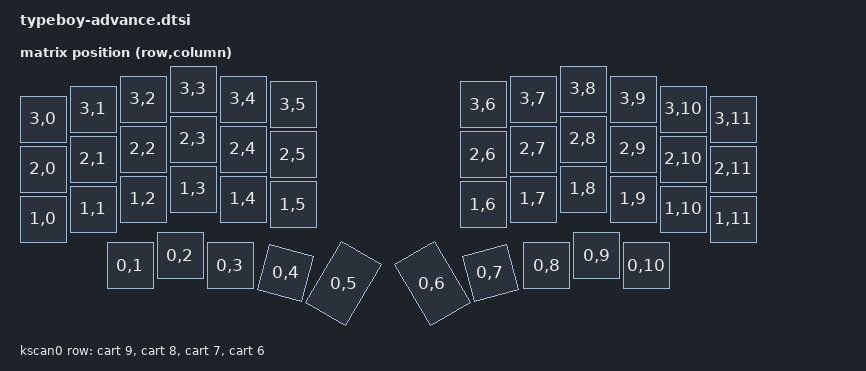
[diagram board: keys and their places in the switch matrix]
#include <physical_layouts.dtsi>
#include <dt-bindings/zmk/matrix_transform.h>
#include <dt-bindings/led/led.h>

// Define a pinctrl for the RGB LEDs.
&pinctrl {
    spi3_default: spi3_default {
        group1 {
            psels = <NRF_PSEL(SPIM_MOSI, 1, 0)>;
        };
    };

    spi3_sleep: spi3_sleep {
        group1 {
            psels = <NRF_PSEL(SPIM_MOSI, 1, 0)>;
            low-power-enable;
        };
    };
};

// RGB LEDs. Connected to Pin D26/P1.00
&spi3 {
    compatible = "nordic,nrf-spim";
    status = "okay";

    pinctrl-0 = <&spi3_default>;
    pinctrl-1 = <&spi3_sleep>;
    pinctrl-names = "default", "sleep";

    led_strip: ws2812@0 {
        compatible = "worldsemi,ws2812-spi";

        /* SPI */
        reg = <0>; /* ignored, but necessary for SPI bindings */
        spi-max-frequency = <4000000>;

        /* WS2812 */
        chain-length = <48>; /* number of LEDs */
        spi-one-frame = <0x70>;
        spi-zero-frame = <0x40>;
        color-mapping = <LED_COLOR_ID_GREEN
                         LED_COLOR_ID_RED
                         LED_COLOR_ID_BLUE>;
    };
};

// Display settings.
&cart_spi {
    status = "okay";

    cs-gpios = <&cart 23 GPIO_ACTIVE_HIGH>;
	ls0xx: ls0xx@0 {
		compatible = "sharp,ls0xx";
		label = "DISPLAY";
		spi-max-frequency = <2000000>;
		reg = <0>;
		width = <160>;
		height = <68>;
	};
};

&cart_serial { status = "disabled"; };

&typeboy_advance_layout {
    transform = <&default_transform>;
};

/ {
    typeboy_advance_layout: typeboy_advance_layout {
        compatible = "zmk,physical-layout";
        display-name = "TypeBoy Advance";

        keys  //                     w   h    x    y     rot    rx    ry
            = <&key_physical_attrs 100 100    0   60       0     0     0>
            , <&key_physical_attrs 100 100  100   40       0     0     0>
            , <&key_physical_attrs 100 100  200   20       0     0     0>
            , <&key_physical_attrs 100 100  300    0       0     0     0>
            , <&key_physical_attrs 100 100  400   20       0     0     0>
            , <&key_physical_attrs 100 100  500   31       0     0     0>
            , <&key_physical_attrs 100 100  880   31       0     0     0>
            , <&key_physical_attrs 100 100  980   20       0     0     0>
            , <&key_physical_attrs 100 100 1080    0       0     0     0>
            , <&key_physical_attrs 100 100 1180   20       0     0     0>
            , <&key_physical_attrs 100 100 1280   40       0     0     0>
            , <&key_physical_attrs 100 100 1380   60       0     0     0>
            , <&key_physical_attrs 100 100    0  160       0     0     0>
            , <&key_physical_attrs 100 100  100  140       0     0     0>
            , <&key_physical_attrs 100 100  200  120       0     0     0>
            , <&key_physical_attrs 100 100  300  100       0     0     0>
            , <&key_physical_attrs 100 100  400  120       0     0     0>
            , <&key_physical_attrs 100 100  500  131       0     0     0>
            , <&key_physical_attrs 100 100  880  131       0     0     0>
            , <&key_physical_attrs 100 100  980  120       0     0     0>
            , <&key_physical_attrs 100 100 1080  100       0     0     0>
            , <&key_physical_attrs 100 100 1180  120       0     0     0>
            , <&key_physical_attrs 100 100 1280  140       0     0     0>
            , <&key_physical_attrs 100 100 1380  160       0     0     0>
            , <&key_physical_attrs 100 100    0  260       0     0     0>
            , <&key_physical_attrs 100 100  100  240       0     0     0>
            , <&key_physical_attrs 100 100  200  220       0     0     0>
            , <&key_physical_attrs 100 100  300  200       0     0     0>
            , <&key_physical_attrs 100 100  400  220       0     0     0>
            , <&key_physical_attrs 100 100  500  231       0     0     0>
            , <&key_physical_attrs 100 100  880  231       0     0     0>
            , <&key_physical_attrs 100 100  980  220       0     0     0>
            , <&key_physical_attrs 100 100 1080  200       0     0     0>
            , <&key_physical_attrs 100 100 1180  220       0     0     0>
            , <&key_physical_attrs 100 100 1280  240       0     0     0>
            , <&key_physical_attrs 100 100 1380  260       0     0     0>
            , <&key_physical_attrs 100 100  174  353       0     0     0>
            , <&key_physical_attrs 100 100  274  333       0     0     0>
            , <&key_physical_attrs 100 100  374  353       0     0     0>
            , <&key_physical_attrs 100 100  485  368    1500   535   418>
            , <&key_physical_attrs 150 100  576  389 (-6000)   651   439>
            , <&key_physical_attrs 150 100  754  389    6000   829   439>
            , <&key_physical_attrs 100 100  895  368 (-1500)   945   418>
            , <&key_physical_attrs 100 100 1007  353       0     0     0>
            , <&key_physical_attrs 100 100 1107  333       0     0     0>
            , <&key_physical_attrs 100 100 1207  353       0     0     0>
            ;
    };
    
    chosen {
        zmk,kscan = &kscan0;
        zmk,physical-layout = &typeboy_advance_layout;
		zephyr,display = &ls0xx;
        zmk,underglow = &led_strip;
    };

    default_transform: keymap_transform_0 {
        compatible = "zmk,matrix-transform";
        columns = <12>;
        rows = <4>;

        map = <
            RC(3,0) RC(3,1) RC(3,2) RC(3,3) RC(3,4) RC(3,5) RC(3,6) RC(3,7) RC(3,8) RC(3,9) RC(3,10) RC(3,11)
            RC(2,0) RC(2,1) RC(2,2) RC(2,3) RC(2,4) RC(2,5) RC(2,6) RC(2,7) RC(2,8) RC(2,9) RC(2,10) RC(2,11)
            RC(1,0) RC(1,1) RC(1,2) RC(1,3) RC(1,4) RC(1,5) RC(1,6) RC(1,7) RC(1,8) RC(1,9) RC(1,10) RC(1,11)
                    RC(0,1) RC(0,2) RC(0,3) RC(0,4) RC(0,5) RC(0,6) RC(0,7) RC(0,8) RC(0,9) RC(0,10)
        >;
    };

    kscan0: kscan {
        compatible = "zmk,kscan-gpio-matrix";
        wakeup-source;

        diode-direction = "col2row";

        row-gpios
            = <&cart 9 (GPIO_ACTIVE_HIGH | GPIO_PULL_DOWN)>
            , <&cart 8 (GPIO_ACTIVE_HIGH | GPIO_PULL_DOWN)>
            , <&cart 7 (GPIO_ACTIVE_HIGH | GPIO_PULL_DOWN)>
            , <&cart 6 (GPIO_ACTIVE_HIGH | GPIO_PULL_DOWN)>
            ;
    };
};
